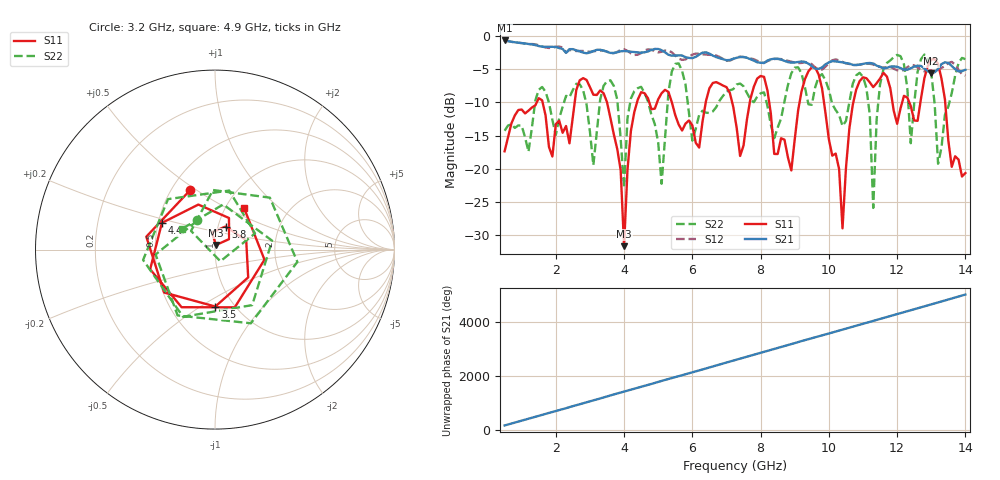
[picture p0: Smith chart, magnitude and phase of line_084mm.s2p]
!Created with skrf (http://scikit-rf.org).
# GHz S RI R 50.0
!freq ReS11 ImS11 ReS21 ImS21 ReS12 ImS12 ReS22 ImS22
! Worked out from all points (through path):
!   136 points, 500 MHz to 14 GHz, reference 50 ohm
!   highest |S21| = -0.67 dB at 500 MHz (marker M1); lowest = -5.6 dB at 13 GHz (marker M2)
!   lowest |S11| = -31.7 dB at 4 GHz (marker M3), VSWR 1.05, Z = 50.5 + j2.58 ohm
!   |S11| at or under -10 dB: start of sweep to 1.441 GHz; 1.614 GHz to 2.554 GHz (939.9 MHz wide, 45.1 % of centre); 5.401 GHz to 6.393 GHz (992.1 MHz wide, 16.8 % of centre)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
!   |S22| runs from -25.9 to -2.8 dB; largest |S21 - S12| = 0.055
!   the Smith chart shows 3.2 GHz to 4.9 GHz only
!   S11 on the Smith chart (normalised r, x): 3.2 GHz: 0.62, +0.47; 3.5 GHz: 0.82, -0.58; 3.8 GHz: 1.09, +0.28; 4.4 GHz: 0.52, +0.17; 4.9 GHz: 1.21, +0.62
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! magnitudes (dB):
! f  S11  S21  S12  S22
! 500 MHz  -17.4  -0.7  -0.7  -14.3
! 2.8 GHz  -6.3  -2.5  -2.3  -8.1
! 3.2 GHz  -8.9  -2.1  -2.2  -14.5
! 3.5 GHz  -10.0  -2.4  -2.3  -6.8
! 3.8 GHz  -17.0  -2.4  -2.4  -9.6
! 4 GHz  -31.7  -2.3  -2.0  -22.9
! 4.4 GHz  -9.6  -2.5  -2.8  -7.9
! 4.9 GHz  -10.9  -1.9  -2.3  -13.3
! 5 GHz  -9.5  -1.9  -2.5  -16.1
! 5.5 GHz  -11.9  -2.9  -2.9  -4.2
! 7.3 GHz  -13.9  -3.3  -3.2  -7.3
! 8.1 GHz  -6.1  -4.1  -4.1  -8.5
! 8.9 GHz  -20.3  -4.0  -3.9  -5.6
! 9.5 GHz  -4.7  -4.5  -4.2  -10.4
! 10.4 GHz  -29.0  -4.0  -3.9  -13.6
! 11 GHz  -6.2  -4.2  -4.2  -6.1
! 11.3 GHz  -7.7  -4.1  -4.3  -25.9
! 11.8 GHz  -7.9  -4.6  -4.7  -3.7
! 12.4 GHz  -10.6  -4.9  -4.3  -16.1
! 13 GHz  -3.6  -5.6  -5.2  -5.5
! 13.2 GHz  -4.2  -5.0  -5.1  -19.2
! 14 GHz  -20.6  -5.1  -6.0  -3.5
